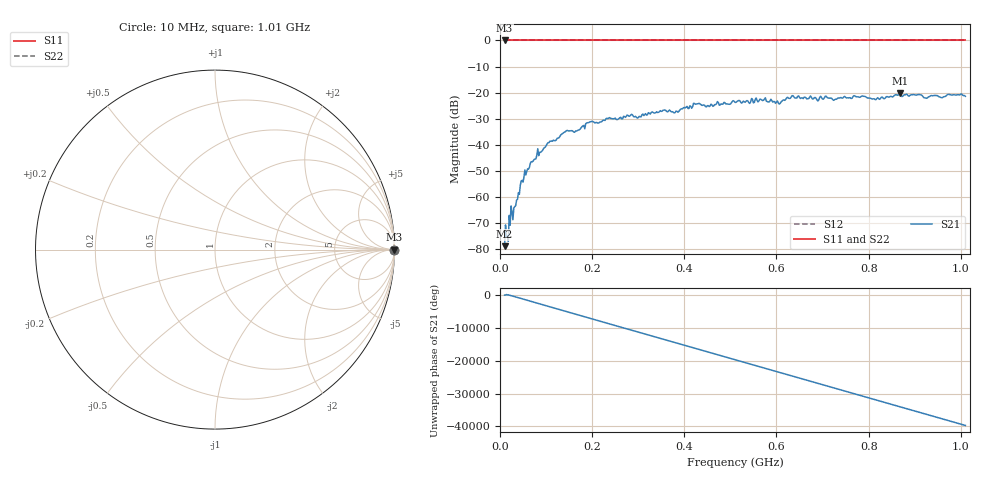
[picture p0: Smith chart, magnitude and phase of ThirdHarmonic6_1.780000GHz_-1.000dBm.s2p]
! 8/16/2025 9:31:11 PM
! C:\ANRITSUVNA\TEMP\TEMP.S2P
! CHANNEL.1
! TR.MEASUREMENT
! RAW.DATA
! RF.CORRECTION.OFF
! AVERAGING.OFF
! IF.BANDWIDTH: 5KHZ
! SWEEPTYPE:  FREQ.SWEEP(Linear)
! Reference Plane Port Info
! PORT:  PORT1  PORT2
! DISTANCE:  0  m  0  m
! TIME:  0  s  0  s
! PHASE.OFFSET:  0  deg.  0  deg.
! LOSS:  0  dB  0  dB
! REF.LOSS:  0  dB  0  dB
! REF.FREQ:  0  Hz  0  Hz
! Power Info
! POWER:  -20  dBm  -20  dBm
! EFF.POWER:  -20  dBm  -20  dBm
! SOURCE.ATTEN:  0  dB  0  dB
! TEST.ATTEN:  0  dB  0  dB
# GHZ S RI R 50.0
! FREQ.GHZ  S11RE  S11IM  S21RE  S21IM  S12RE  S12IM  S22RE  S22IM
!; PortSelection: Port_12
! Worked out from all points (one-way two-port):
!   501 points, 10 MHz to 1.01 GHz, reference 50 ohm
!   highest |S21| = -20.21 dB at 868 MHz (marker M1); lowest = -78.8 dB at 10 MHz (marker M2)
!   lowest |S11| = 0.0 dB at 10 MHz (marker M3)
!   |S11| at or under -10 dB: nowhere
!   |S22| runs from 0.0 to 0.0 dB; largest |S21 - S12| = 1.1
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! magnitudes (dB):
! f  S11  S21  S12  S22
! 10 MHz  0.0  -78.8  0.0  0.0
! 18 MHz  0.0  -76.9  0.0  0.0
! 24 MHz  0.0  -63.4  0.0  0.0
! 32 MHz  0.0  -63.6  0.0  0.0
! 50 MHz  0.0  -54.2  0.0  0.0
! 70 MHz  0.0  -46.5  0.0  0.0
! 106 MHz  0.0  -39.2  0.0  0.0
! 142 MHz  0.0  -34.9  0.0  0.0
! 178 MHz  0.0  -33.0  0.0  0.0
! 234 MHz  0.0  -30.0  0.0  0.0
! 302 MHz  0.0  -29.1  0.0  0.0
! 344 MHz  0.0  -27.5  0.0  0.0
! 382 MHz  0.0  -27.1  0.0  0.0
! 424 MHz  0.0  -24.4  0.0  0.0
! 450 MHz  0.0  -24.9  0.0  0.0
! 510 MHz  0.0  -23.7  0.0  0.0
! 608 MHz  0.0  -24.1  0.0  0.0
! 634 MHz  0.0  -21.1  0.0  0.0
! 678 MHz  0.0  -22.4  0.0  0.0
! 844 MHz  0.0  -21.7  0.0  0.0
! 868 MHz  0.0  -20.2  0.0  0.0
! 1.01 GHz  0.0  -21.4  0.0  0.0
